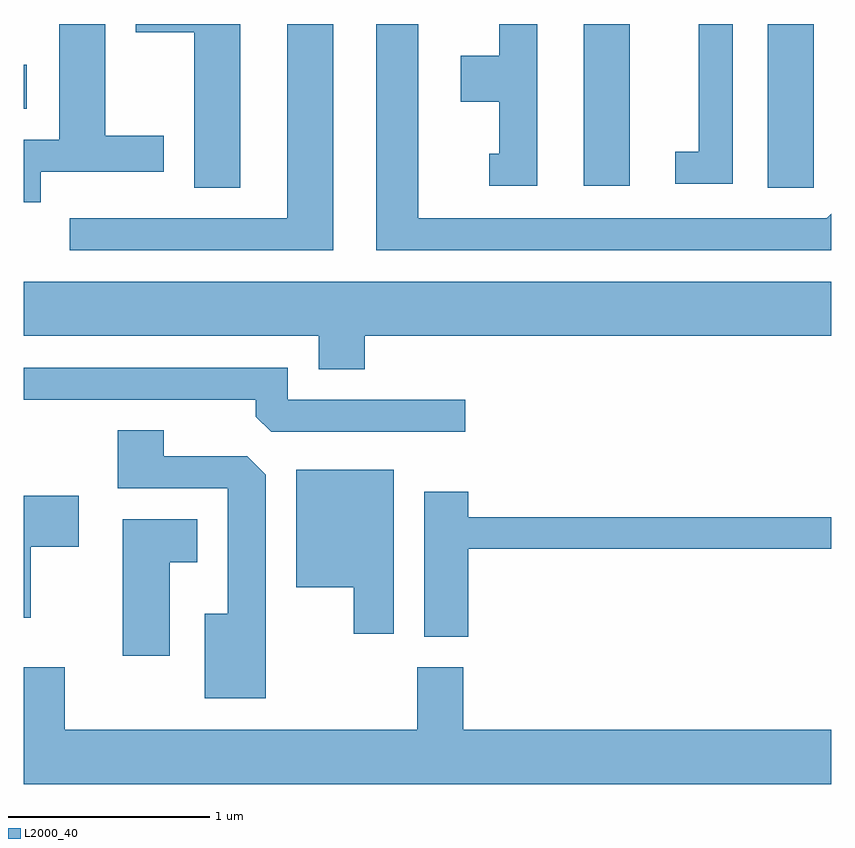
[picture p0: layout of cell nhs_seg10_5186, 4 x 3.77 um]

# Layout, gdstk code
import gdstk
lib = gdstk.Library(unit=1e-6, precision=1e-09)
def R(c, l, rs):  # rectangles x0, y0, x1, y1
    for r in rs: c.add(gdstk.rectangle(r[:2], r[2:], *l))
def P(c, l, *ps):  # polygons
    for p in ps: c.add(gdstk.Polygon(p, *l))
L2000_40 = (2000, 40)

nhs_seg10_5186 = lib.new_cell('nhs_seg10_5186')
R(nhs_seg10_5186, L2000_40, [(341.296,2165.711,341.524,2166.522), (340.386,2165.721,340.614,2166.522), (337.611,2166.101,337.624,2166.319)])
P(nhs_seg10_5186, L2000_40, [(338.684,2166.522),(338.166,2166.522),(338.166,2166.481),(338.456,2166.481),(338.456,2165.711),(338.684,2165.711)],
  [(340.154,2166.522),(339.966,2166.522),(339.966,2166.364),(339.776,2166.364),(339.776,2166.136),(339.966,2166.136),(339.966,2165.879),(339.918,2165.879),(339.918,2165.721),(340.154,2165.721)],
  [(339.144,2166.522),(338.916,2166.522),(338.916,2165.559),(337.838,2165.559),(337.838,2165.401),(339.144,2165.401)],
  [(337.694,2165.791),(338.304,2165.791),(338.304,2165.969),(338.014,2165.969),(338.014,2166.522),(337.786,2166.522),(337.786,2165.949),(337.611,2165.949),(337.611,2165.638),(337.694,2165.638)],
  [(341.611,2165.581),(341.589,2165.559),(339.564,2165.559),(339.564,2166.522),(339.356,2166.522),(339.356,2165.401),(341.611,2165.401)],
  [(341.124,2166.522),(340.956,2166.522),(340.956,2165.889),(340.838,2165.889),(340.838,2165.731),(341.124,2165.731)],
  [(339.299,2164.976),(341.611,2164.976),(341.611,2165.244),(337.611,2165.244),(337.611,2164.976),(339.071,2164.976),(339.071,2164.811),(339.299,2164.811)],
  [(339.798,2164.659),(338.919,2164.659),(338.919,2164.819),(337.611,2164.819),(337.611,2164.661),(338.761,2164.661),(338.761,2164.577),(338.837,2164.501),(339.798,2164.501)],
  [(338.809,2164.289),(338.719,2164.379),(338.304,2164.379),(338.304,2164.509),(338.076,2164.509),(338.076,2164.221),(338.621,2164.221),(338.621,2163.599),(338.506,2163.599),(338.506,2163.181),(338.809,2163.181)],
  [(339.444,2164.314),(338.961,2164.314),(338.961,2163.731),(339.246,2163.731),(339.246,2163.501),(339.444,2163.501)],
  [(339.814,2163.921),(341.611,2163.921),(341.611,2164.079),(339.814,2164.079),(339.814,2164.204),(339.596,2164.204),(339.596,2163.486),(339.814,2163.486)],
  [(337.644,2163.931),(337.884,2163.931),(337.884,2164.184),(337.611,2164.184),(337.611,2163.581),(337.644,2163.581)],
  [(338.334,2163.856),(338.469,2163.856),(338.469,2164.069),(338.101,2164.069),(338.101,2163.391),(338.334,2163.391)],
  [(341.611,2163.024),(339.789,2163.024),(339.789,2163.334),(339.561,2163.334),(339.561,2163.024),(337.814,2163.024),(337.814,2163.334),(337.611,2163.334),(337.611,2162.756),(341.611,2162.756)])

lib.write_gds('nhs_seg10_5186.gds')
